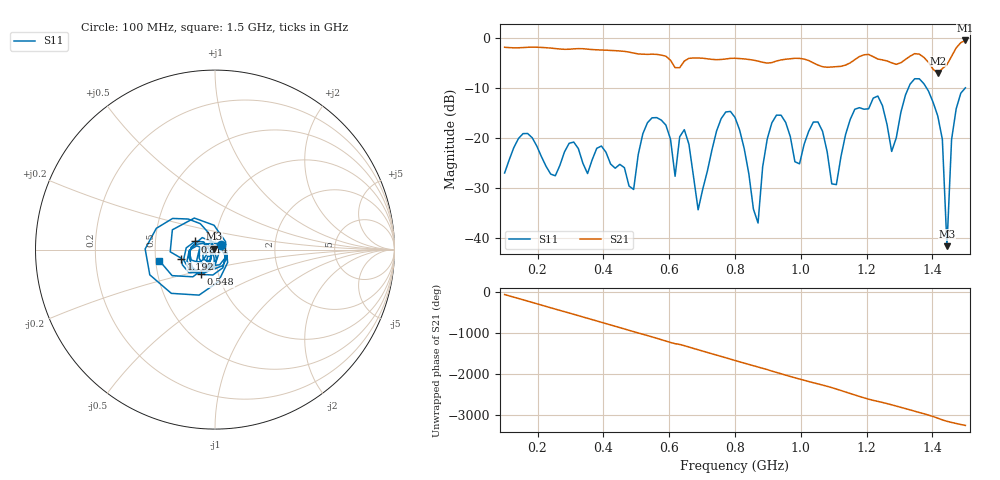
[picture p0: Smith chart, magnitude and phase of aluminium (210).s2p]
! NanoVNA-App
! Date: 2025-09-25 14:56:55
! Start: 100MHz Stop: 1,5GHz Points: 101
! S-Parameter data: F S11 S21 S12 S22
# Hz S RI R 50
!  Frequency  S11_Real  S11_Imag  S21_Real  S21_Imag  S12_Real  S12_Imag  S22_Real  S22_Imag
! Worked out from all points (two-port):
!   101 points, 100 MHz to 1.5 GHz, reference 50 ohm
!   highest |S21| = -0.56 dB at 1.5 GHz (marker M1); lowest = -7.0 dB at 1.416 GHz (marker M2)
!   |S21| within 3 dB of the highest: start of sweep to 581.5 MHz; 1.459 GHz to end of sweep (the widest 2 of 4)
!   lowest |S11| = -41.5 dB at 1.444 GHz (marker M3), VSWR 1.02, Z = 49.4 + j0.539 ohm
!   |S11| at or under -10 dB: start of sweep to 1.327 GHz; 1.382 GHz to 1.5 GHz (118.2 MHz wide, 8.2 % of centre)
!   S12 and S22 are empty: the file has one direction only
!   S11 on the Smith chart (normalised r, x): 100 MHz: 1.07, +0.06; 548 MHz: 0.82, -0.23; 814 MHz: 0.80, +0.07; 1.192 GHz: 0.68, -0.07; 1.5 GHz: 0.52, -0.07
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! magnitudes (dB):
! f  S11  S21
! 100 MHz  -27.0  -1.9
! 338 MHz  -25.0  -2.2
! 492 MHz  -30.2  -3.1
! 548 MHz  -16.0  -3.3
! 576 MHz  -16.4  -3.5
! 618 MHz  -27.6  -6.0
! 646 MHz  -18.3  -4.7
! 688 MHz  -34.3  -4.1
! 800 MHz  -15.9  -4.1
! 814 MHz  -18.4  -4.2
! 870 MHz  -36.9  -4.7
! 912 MHz  -17.0  -5.0
! 1.038 GHz  -16.8  -5.0
! 1.108 GHz  -29.3  -5.8
! 1.192 GHz  -14.3  -3.4
! 1.276 GHz  -22.7  -5.0
! 1.346 GHz  -8.2  -3.2
! 1.416 GHz  -15.6  -7.0
! 1.43 GHz  -20.2  -6.2
! 1.444 GHz  -41.5  -5.4
! 1.458 GHz  -20.3  -3.7
! 1.5 GHz  -10.0  -0.6
